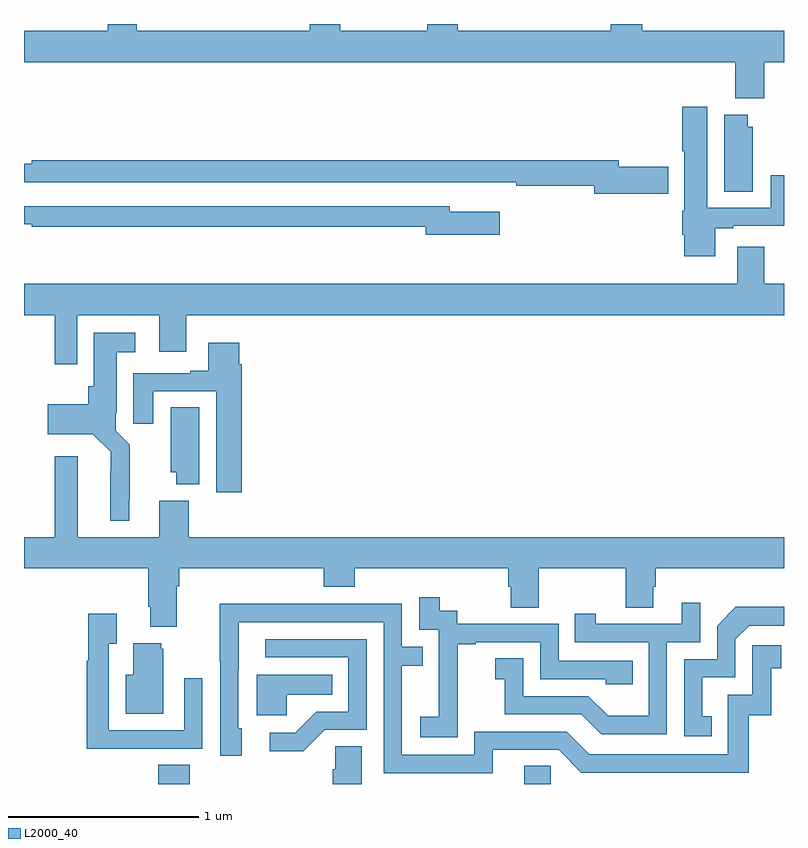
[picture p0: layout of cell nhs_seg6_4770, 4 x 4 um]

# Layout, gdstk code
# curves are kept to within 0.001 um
import gdstk
lib = gdstk.Library(unit=1e-6, precision=1e-09)
def R(c, l, rs):  # rectangles x0, y0, x1, y1
    for r in rs: c.add(gdstk.rectangle(r[:2], r[2:], *l))
def P(c, l, *ps):  # polygons
    for p in ps: c.add(gdstk.Polygon(p, *l))
L2000_40 = (2000, 40)

nhs_seg6_4770 = lib.new_cell('nhs_seg6_4770')
R(nhs_seg6_4770, L2000_40, [(393.707,979.5,393.872,979.601), (395.633,979.5,395.772,979.595)])
P(nhs_seg6_4770, L2000_40, [(396.895,983.3),(397,983.3),(397,983.464),(396.254,983.464),(396.254,983.5),(396.089,983.5),(396.089,983.464),(395.282,983.464),(395.282,983.5),(395.122,983.5),(395.122,983.464),(394.665,983.464),(394.665,983.5),(394.505,983.5),(394.505,983.464),(393.593,983.464),(393.593,983.5),(393.44,983.5),(393.44,983.464),(393,983.464),(393,983.3),(396.743,983.3),(396.743,983.108),(396.895,983.108)],
  [(396.637,982.425),(396.733,982.425),(396.733,982.437),(397,982.437),(397,982.705),(396.929,982.705),(396.929,982.533),(396.595,982.533),(396.595,983.065),(396.464,983.065),(396.464,982.831),(396.476,982.831),(396.476,982.517),(396.464,982.517),(396.464,982.39),(396.476,982.39),(396.476,982.278),(396.637,982.278)],
  [(396.835,982.959),(396.808,982.959),(396.808,983.023),(396.686,983.023),(396.686,982.618),(396.835,982.618)],
  [(396.391,982.748),(396.13,982.748),(396.13,982.784),(393.04,982.784),(393.04,982.765),(393,982.765),(393,982.668),(395.338,982.668),(395.338,982.667),(395.59,982.667),(395.59,982.648),(396.002,982.648),(396.002,982.606),(396.391,982.606)],
  [(395.503,982.513),(395.242,982.513),(395.242,982.542),(393,982.542),(393,982.446),(393.04,982.446),(393.04,982.434),(395.114,982.434),(395.114,982.391),(395.503,982.391)],
  [(393.279,981.968),(393.713,981.968),(393.713,981.774),(393.853,981.774),(393.853,981.968),(397,981.968),(397,982.132),(396.895,982.132),(396.895,982.327),(396.755,982.327),(396.755,982.132),(393,982.132),(393,981.968),(393.163,981.968),(393.163,981.708),(393.279,981.708)],
  [(393.553,980.995),(393.557,980.995),(393.557,981.286),(393.483,981.36),(393.483,981.454),(393.487,981.454),(393.487,981.773),(393.586,981.773),(393.586,981.874),(393.368,981.874),(393.368,981.594),(393.338,981.594),(393.338,981.499),(393.126,981.499),(393.126,981.341),(393.363,981.341),(393.456,981.248),(393.455,980.885),(393.553,980.885)],
  [(394.145,981.71),(394.132,981.71),(394.132,981.823),(393.971,981.823),(393.971,981.676),(393.875,981.676),(393.875,981.663),(393.575,981.663),(393.575,981.396),(393.679,981.396),(393.679,981.567),(394.013,981.567),(394.013,981.036),(394.145,981.036)],
  [(393.922,981.482),(393.773,981.482),(393.773,981.141),(393.8,981.141),(393.8,981.077),(393.922,981.077)],
  [(393.805,980.54),(393.818,980.54),(393.818,980.636),(394.577,980.636),(394.577,980.537),(394.742,980.537),(394.742,980.636),(395.549,980.636),(395.549,980.538),(395.561,980.538),(395.561,980.428),(395.709,980.428),(395.709,980.636),(396.166,980.636),(396.166,980.428),(396.313,980.428),(396.313,980.538),(396.326,980.538),(396.326,980.636),(397,980.636),(397,980.8),(393.866,980.8),(393.866,980.992),(393.713,980.992),(393.713,980.8),(393.283,980.8),(393.283,981.226),(393.161,981.226),(393.161,980.8),(393,980.8),(393,980.636),(393.653,980.636),(393.653,980.434),(393.665,980.434),(393.665,980.327),(393.805,980.327)],
  [(395.283,979.951),(395.282,979.951),(395.282,980.235),(395.377,980.235),(395.377,980.247),(395.718,980.247),(395.718,980.052),(396.063,980.052),(396.063,980.025),(396.203,980.025),(396.203,980.148),(395.814,980.148),(395.814,980.343),(395.28,980.343),(395.28,980.412),(395.188,980.412),(395.188,980.482),(395.079,980.482),(395.079,980.313),(395.184,980.313),(395.184,980.084),(395.183,980.084),(395.183,979.855),(395.085,979.855),(395.085,979.745),(395.283,979.745)],
  [(396.384,980.247),(396.558,980.247),(396.558,980.455),(396.461,980.455),(396.461,980.343),(396.01,980.343),(396.01,980.395),(395.899,980.395),(395.899,980.247),(396.288,980.247),(396.288,979.858),(396.074,979.858),(395.97,979.962),(395.628,979.962),(395.628,980.161),(395.481,980.161),(395.481,980.051),(395.53,980.051),(395.53,979.866),(395.933,979.866),(396.038,979.761),(396.384,979.761)],
  [(395.467,979.68),(395.814,979.68),(395.934,979.56),(396.814,979.56),(396.814,979.863),(396.932,979.863),(396.932,980.109),(396.985,980.109),(396.985,980.23),(396.834,980.23),(396.834,979.971),(396.705,979.971),(396.705,979.656),(395.976,979.656),(395.856,979.776),(395.37,979.776),(395.37,979.653),(394.989,979.653),(394.989,980.122),(395.099,980.122),(395.099,980.223),(394.989,980.223),(394.989,980.448),(394.493,980.448),(394.493,980.45),(394.03,980.45),(394.03,980.143),(394.032,980.143),(394.032,979.65),(394.147,979.65),(394.147,979.794),(394.128,979.794),(394.129,980.352),(394.893,980.352),(394.893,979.557),(395.467,979.557)],
  [(396.62,979.857),(396.571,979.857),(396.571,980.061),(396.744,980.061),(396.744,980.262),(396.816,980.334),(397,980.334),(397,980.432),(396.746,980.432),(396.648,980.334),(396.648,980.157),(396.474,980.157),(396.474,979.752),(396.62,979.752)],
  [(393.623,979.686),(393.939,979.686),(393.939,980.056),(393.843,980.056),(393.843,979.782),(393.447,979.782),(393.447,980.239),(393.487,980.239),(393.487,980.395),(393.339,980.395),(393.339,980.15),(393.331,980.15),(393.331,979.685),(393.623,979.685)],
  [(394.584,979.785),(394.803,979.785),(394.803,980.262),(394.269,980.262),(394.269,980.166),(394.707,980.166),(394.707,979.881),(394.538,979.881),(394.427,979.77),(394.293,979.77),(394.293,979.673),(394.471,979.673)],
  [(393.733,980.211),(393.722,980.211),(393.722,980.242),(393.575,980.242),(393.575,980.074),(393.536,980.074),(393.536,979.871),(393.733,979.871)],
  [(394.383,979.97),(394.622,979.97),(394.622,980.074),(394.226,980.074),(394.226,979.862),(394.383,979.862)],
  [(394.777,979.7),(394.638,979.7),(394.638,979.577),(394.625,979.577),(394.625,979.5),(394.777,979.5)])

lib.write_gds('nhs_seg6_4770.gds')
